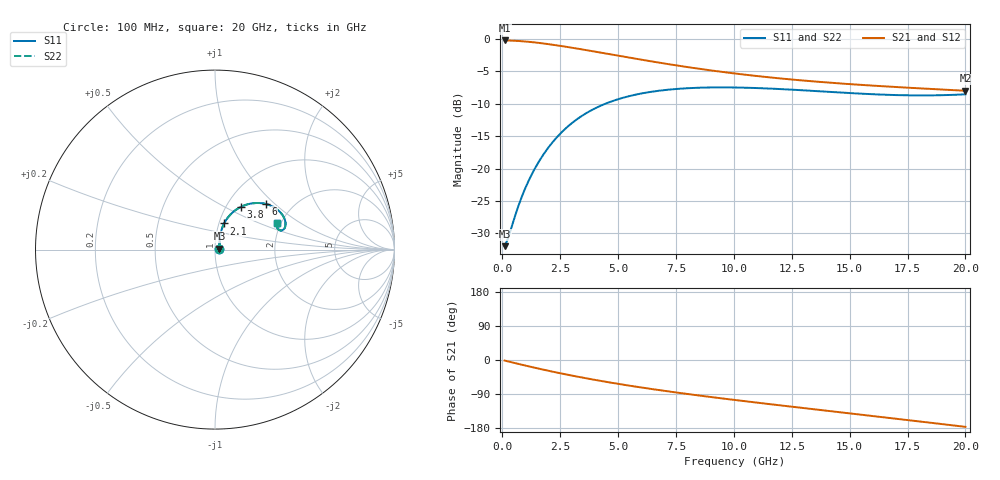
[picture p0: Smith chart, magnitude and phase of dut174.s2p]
! Created with skrf 1.9.0 (http://scikit-rf.org).
# GHz S RI R 50.0
!freq ReS11 ImS11 ReS21 ImS21 ReS12 ImS12 ReS22 ImS22
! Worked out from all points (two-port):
!   200 points, 100 MHz to 20 GHz, reference 50 ohm
!   highest |S21| = -0.22 dB at 100 MHz (marker M1); lowest = -8.0 dB at 20 GHz (marker M2)
!   |S21| within 3 dB of the highest: start of sweep to 6.057 GHz
!   lowest |S11| = -32.0 dB at 100 MHz (marker M3), VSWR 1.05, Z = 52.5 + j0.641 ohm
!   |S11| at or under -10 dB: start of sweep to 4.441 GHz
!   |S22| runs from -32.0 to -7.5 dB; largest |S21 - S12| = 2.1e-15
!   S11 on the Smith chart (normalised r, x): 100 MHz: 1.05, +0.01; 2.1 GHz: 1.06, +0.32; 3.8 GHz: 1.17, +0.61; 6 GHz: 1.48, +0.88; 20 GHz: 1.89, +0.66
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0.1  0.0245 0.0061  0.975 -0.0253  0.975 -0.0253  0.0245 0.0061
0.2  0.0245 0.0125  0.9734 -0.0508  0.9734 -0.0508  0.0245 0.0125
0.3  0.0246 0.0189  0.9708 -0.0761  0.9708 -0.0761  0.0246 0.0189
0.7  0.0256 0.045  0.9505 -0.1745  0.9505 -0.1745  0.0256 0.045
1.1  0.0283 0.0726  0.9161 -0.266  0.9161 -0.266  0.0283 0.0726
1.3  0.0307 0.087  0.8946 -0.3083  0.8946 -0.3083  0.0307 0.087
1.6  0.0361 0.109  0.8578 -0.3671  0.8578 -0.3671  0.0361 0.109
2.1  0.0508 0.1456  0.7878 -0.4518  0.7878 -0.4518  0.0508 0.1456
2.8  0.083 0.192  0.679 -0.5431  0.679 -0.5431  0.083 0.192
3.5  0.1253 0.2274  0.5663 -0.6054  0.5663 -0.6054  0.1253 0.2274
3.8  0.1451 0.2385  0.5186 -0.6243  0.5186 -0.6243  0.1451 0.2385
4.8  0.2119 0.2583  0.3673 -0.66  0.3673 -0.66  0.2119 0.2583
6  0.2824 0.2542  0.2083 -0.6612  0.2083 -0.6612  0.2824 0.2542
6.8  0.3194 0.2407  0.1175 -0.6456  0.1175 -0.6456  0.3194 0.2407
8.4  0.3684 0.2027  -0.0306 -0.5924  -0.0306 -0.5924  0.3684 0.2027
10.1  0.3905 0.1619  -0.1486 -0.5199  -0.1486 -0.5199  0.3905 0.1619
11.7  0.3921 0.1318  -0.2327 -0.4458  -0.2327 -0.4458  0.3921 0.1318
13.4  0.3821 0.1124  -0.3006 -0.3636  -0.3006 -0.3636  0.3821 0.1124
15  0.3679 0.1066  -0.348 -0.2837  -0.348 -0.2837  0.3679 0.1066
16.7  0.3534 0.1126  -0.3819 -0.1964  -0.3819 -0.1964  0.3534 0.1126
18.4  0.3441 0.1287  -0.3987 -0.1076  -0.3987 -0.1076  0.3441 0.1287
20  0.3432 0.1497  -0.3982 -0.025  -0.3982 -0.025  0.3432 0.1497
